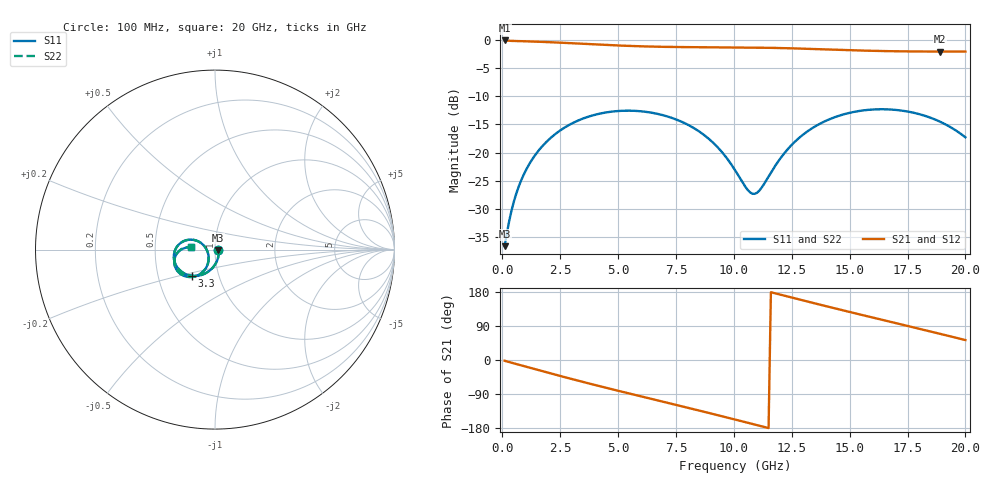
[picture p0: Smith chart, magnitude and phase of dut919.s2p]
! Touchstone file exported from HFSS 2026.1.0
!  File:  C:/ffzhzh/LocalFiles/Ansys_Project_Files/temp_train_TSV_RDL_919_1783278850_39728.aedt
!  Generated:  03:21:35 AM Jul  6, 2026
!  Design:  TSV_RDL
!  Project:  temp_train_TSV_RDL_919_1783278850_39728
! Variables:
!  h_bsmrdl = 5.04um
!  h_ox = 20um
!  h_rdl = 5um
!  h_sub = 71.14um
!  h_tmrdl = 5.4um
!  h_tsv = 71.14um
!  h_via = 3um
!  l_bsmrdl = 853.79um
!  l_sub = 5256.24um
!  l_tmrdl = 530.06um
!  m_sub = 200um
!  pitch = 31.66um
!  r_tsv = 7.26um
!  s_tmrdl = 10um
!  w_bsmrdl = 28.5um
!  w_sub = 500um
!  w_tmrdl = 29.71um
!  x_tsv_center1 = 544.915um
!  x_tsv_center2 = 1427.205um
!  x_tsv_center3 = 1986.975um
!  x_tsv_center4 = 2869.265um
!  x_tsv_center5 = 3429.035um
!  x_tsv_center6 = 4311.325um
# GHz S MA R 50.000000
! Terminal data exported
! Port[1] = TM_RDL1_1_T1
! Port[2] = TM_RDL5_1_T1
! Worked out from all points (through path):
!   200 points, 100 MHz to 20 GHz, reference 50 ohm
!   highest |S21| = -0.13 dB at 100 MHz (marker M1); lowest = -2.1 dB at 18.9 GHz (marker M2)
!   group delay of S21, straight-line fit = 42.3 ps
!   lowest |S11| = -36.6 dB at 100 MHz (marker M3), VSWR 1.03, Z = 51.5 - j0.254 ohm
!   |S11| at or under -10 dB: start of sweep to end of sweep
!   |S22| runs from -36.6 to -12.3 dB; largest |S21 - S12| = 1.5e-14
!   S11 on the Smith chart (normalised r, x): 100 MHz: 1.03, -0.01; 3.3 GHz: 0.75, -0.23; 20 GHz: 0.76, +0.02
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0.1  0.01484 -9.6  0.9853 -2.0  0.9853 -2.0  0.01484 -9.6
! Gamma 0 0 0 0
! Port Impedance 50 0 50 0
0.3  0.02489 -37.7  0.9787 -5.5  0.9787 -5.5  0.02488 -37.7
0.6  0.04312 -64.4  0.9733 -10.6  0.9733 -10.6  0.04311 -64.4
1.2  0.08133 -88.9  0.9657 -20.6  0.9657 -20.6  0.08132 -88.9
2.1  0.1357 -109.6  0.9503 -35.6  0.9503 -35.6  0.1356 -109.6
3.3  0.1934 -130.9  0.9242 -55.0  0.9242 -55.0  0.1934 -130.9
3.5  0.2009 -134.1  0.9197 -58.1  0.9197 -58.1  0.2008 -134.2
5.1  0.2343 -158.5  0.8873 -82.7  0.8873 -82.7  0.2342 -158.6
6.8  0.2181 178.3  0.8663 -108.0  0.8663 -108.0  0.2181 178.3
7.8  0.1855 166.2  0.8607 -122.9  0.8607 -122.9  0.1855 166.2
8.7  0.144 157.4  0.8583 -136.4  0.8583 -136.4  0.144 157.3
9.4  0.1061 153.9  0.8571 -147.1  0.8571 -147.1  0.1061 153.8
10.1  0.06745 159.5  0.8555 -157.9  0.8555 -157.9  0.06754 159.4
10.7  0.04449 -173.4  0.8532 -167.2  0.8532 -167.2  0.04464 -173.6
11  0.04409 -150.8  0.8517 -171.8  0.8517 -171.8  0.04423 -151.1
12.3  0.1057 -115.9  0.8412 167.9  0.8412 167.9  0.1057 -116.2
13.4  0.1654 -122.2  0.8283 150.9  0.8283 150.9  0.1653 -122.6
15.1  0.2275 -140.3  0.8068 125.3  0.8068 125.3  0.2272 -140.7
16.7  0.2414 -158.3  0.792 101.7  0.792 101.7  0.2409 -158.8
17.8  0.2246 -170.0  0.787 85.5  0.787 85.5  0.2239 -170.7
18.9  0.1881 -180.0  0.7858 69.2  0.7858 69.2  0.1871 179.2
20  0.1368 175.0  0.7862 52.6  0.7862 52.6  0.1352 173.9
